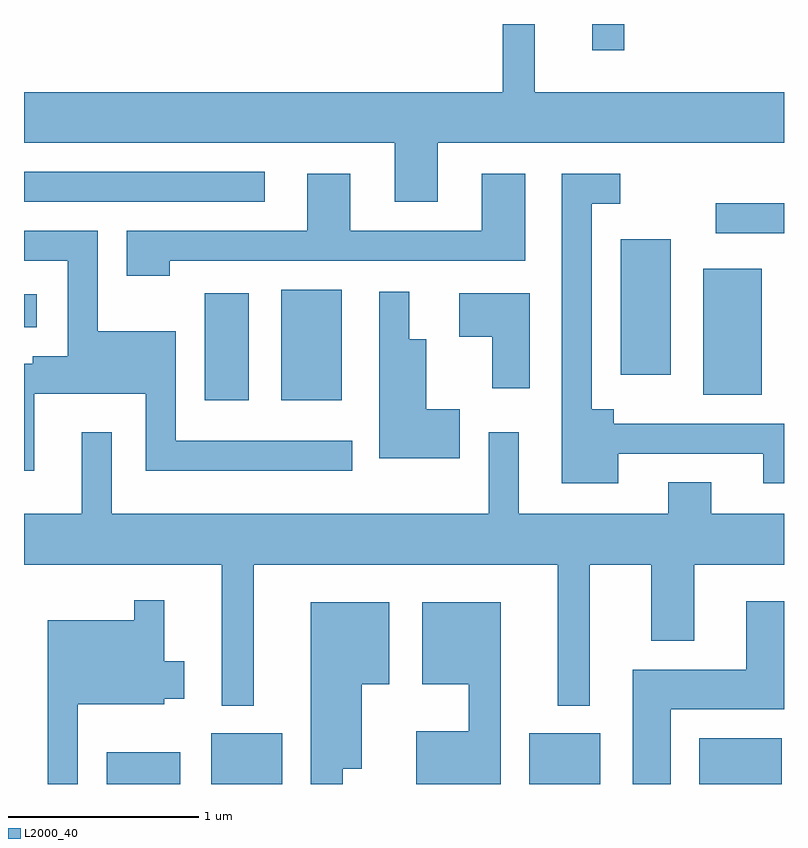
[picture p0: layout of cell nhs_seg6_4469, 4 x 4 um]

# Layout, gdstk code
import gdstk
lib = gdstk.Library(unit=1e-6, precision=1e-09)
def R(c, l, rs):  # rectangles x0, y0, x1, y1
    for r in rs: c.add(gdstk.rectangle(r[:2], r[2:], *l))
def P(c, l, *ps):  # polygons
    for p in ps: c.add(gdstk.Polygon(p, *l))
L2000_40 = (2000, 40)

nhs_seg6_4469 = lib.new_cell('nhs_seg6_4469')
R(nhs_seg6_4469, L2000_40, [(322.046,1602.162,322.434,1602.329), (322.596,1602.162,322.969,1602.429), (324.271,1602.162,324.644,1602.429), (325.166,1602.162,325.599,1602.404), (322.561,1604.181,322.794,1604.744), (322.966,1604.181,323.284,1604.764), (325.186,1604.211,325.494,1604.874), (324.751,1604.316,325.014,1605.029), (321.611,1604.566,321.679,1604.739), (325.253,1605.061,325.611,1605.219), (321.611,1605.226,322.878,1605.384), (324.601,1606.023,324.769,1606.162)])
P(nhs_seg6_4469, L2000_40, [(323.789,1605.536),(325.611,1605.536),(325.611,1605.804),(324.299,1605.804),(324.299,1606.162),(324.131,1606.162),(324.131,1605.804),(321.611,1605.804),(321.611,1605.536),(323.561,1605.536),(323.561,1605.226),(323.789,1605.226)],
  [(322.379,1604.916),(324.249,1604.916),(324.249,1605.374),(324.021,1605.374),(324.021,1605.074),(323.329,1605.074),(323.329,1605.374),(323.101,1605.374),(323.101,1605.074),(322.151,1605.074),(322.151,1604.836),(322.379,1604.836)],
  [(324.739,1603.901),(325.501,1603.901),(325.501,1603.746),(325.611,1603.746),(325.611,1604.059),(324.714,1604.059),(324.714,1604.134),(324.599,1604.134),(324.599,1605.216),(324.748,1605.216),(324.748,1605.374),(324.441,1605.374),(324.441,1603.746),(324.739,1603.746)],
  [(321.664,1604.216),(322.251,1604.216),(322.251,1603.811),(323.338,1603.811),(323.338,1603.969),(322.409,1603.969),(322.409,1604.544),(321.999,1604.544),(321.999,1605.074),(321.611,1605.074),(321.611,1604.916),(321.841,1604.916),(321.841,1604.414),(321.656,1604.414),(321.656,1604.374),(321.611,1604.374),(321.611,1603.811),(321.664,1603.811)],
  [(323.904,1604.134),(323.729,1604.134),(323.729,1604.504),(323.639,1604.504),(323.639,1604.753),(323.481,1604.753),(323.481,1603.876),(323.904,1603.876)],
  [(324.274,1604.744),(323.901,1604.744),(323.901,1604.516),(324.076,1604.516),(324.076,1604.246),(324.274,1604.246)],
  [(322.819,1603.316),(324.421,1603.316),(324.421,1602.573),(324.589,1602.573),(324.589,1603.316),(324.911,1603.316),(324.911,1602.916),(325.139,1602.916),(325.139,1603.316),(325.611,1603.316),(325.611,1603.584),(325.229,1603.584),(325.229,1603.749),(325.001,1603.749),(325.001,1603.584),(324.214,1603.584),(324.214,1604.013),(324.056,1604.013),(324.056,1603.584),(322.074,1603.584),(322.074,1604.013),(321.916,1604.013),(321.916,1603.584),(321.611,1603.584),(321.611,1603.316),(322.651,1603.316),(322.651,1602.573),(322.819,1602.573)],
  [(321.894,1602.581),(322.349,1602.581),(322.349,1602.611),(322.454,1602.611),(322.454,1602.809),(322.349,1602.809),(322.349,1603.128),(322.191,1603.128),(322.191,1603.024),(321.736,1603.024),(321.736,1602.162),(321.894,1602.162)],
  [(325.014,1602.556),(325.611,1602.556),(325.611,1603.124),(325.411,1603.124),(325.411,1602.764),(324.816,1602.764),(324.816,1602.162),(325.014,1602.162)],
  [(324.119,1603.119),(323.706,1603.119),(323.706,1602.686),(323.951,1602.686),(323.951,1602.439),(323.676,1602.439),(323.676,1602.162),(324.119,1602.162)],
  [(323.289,1602.241),(323.389,1602.241),(323.389,1602.686),(323.534,1602.686),(323.534,1603.119),(323.121,1603.119),(323.121,1602.162),(323.289,1602.162)])

lib.write_gds('nhs_seg6_4469.gds')
